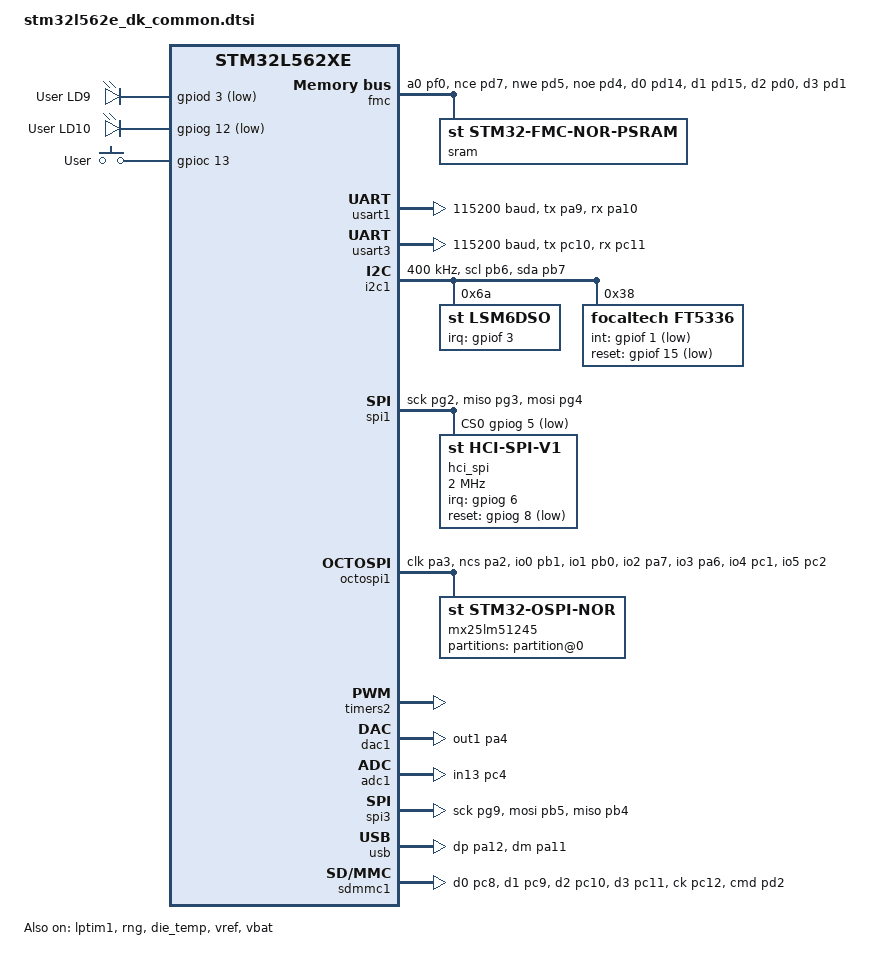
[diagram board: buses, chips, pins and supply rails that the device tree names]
/*
 * Copyright (c) 2020 Yestin Sun
 *
 * SPDX-License-Identifier: Apache-2.0
 */

#include <st/l5/stm32l562Xe.dtsi>
#include <st/l5/stm32l562qeixq-pinctrl.dtsi>
#include "arduino_r3_connector.dtsi"
#include <zephyr/dt-bindings/input/input-event-codes.h>
#include <zephyr/dt-bindings/memory-controller/stm32-fmc-nor-psram.h>
#include <zephyr/dt-bindings/mipi_dbi/mipi_dbi.h>

/ {
	leds {
		compatible = "gpio-leds";
		red_led_9: led_9 {
			gpios = <&gpiod 3 GPIO_ACTIVE_LOW>;
			label = "User LD9";
		};
		green_led_10: led_10 {
			gpios = <&gpiog 12 GPIO_ACTIVE_LOW>;
			label = "User LD10";
		};
	};

	gpio_keys {
		compatible = "gpio-keys";
		user_button: button {
			label = "User";
			gpios = <&gpioc 13 GPIO_ACTIVE_HIGH>;
			zephyr,code = <INPUT_KEY_0>;
		};
	};

	aliases {
		die-temp0 = &die_temp;
		volt-sensor0 = &vref;
		volt-sensor1 = &vbat;
	};

	chosen {
		zephyr,bt-hci = &hci_spi;
	};

	lvgl_pointer {
		compatible = "zephyr,lvgl-pointer-input";
		input = <&ft5336>;
		invert-y;
	};
};

&fmc {
	pinctrl-0 = <&fmc_a0_pf0 &fmc_nce_pd7 &fmc_nwe_pd5 &fmc_noe_pd4
		     &fmc_d0_pd14 &fmc_d1_pd15 &fmc_d2_pd0 &fmc_d3_pd1
		     &fmc_d4_pe7 &fmc_d5_pe8 &fmc_d6_pe9 &fmc_d7_pe10
		     &fmc_d8_pe11 &fmc_d9_pe12 &fmc_d10_pe13 &fmc_d11_pe14
		     &fmc_d12_pe15 &fmc_d13_pd8 &fmc_d14_pd9 &fmc_d15_pd10>;
	pinctrl-names = "default";
	status = "okay";

	sram {
		compatible = "st,stm32-fmc-nor-psram";

		#address-cells = <1>;
		#size-cells = <0>;

		bank@0 {
			reg = <0x0>;
			st,control = <STM32_FMC_DATA_ADDRESS_MUX_DISABLE
				STM32_FMC_MEMORY_TYPE_SRAM
				STM32_FMC_NORSRAM_MEM_BUS_WIDTH_16
				STM32_FMC_BURST_ACCESS_MODE_DISABLE
				STM32_FMC_WAIT_SIGNAL_POLARITY_LOW
				STM32_FMC_WAIT_TIMING_BEFORE_WS
				STM32_FMC_WRITE_OPERATION_ENABLE
				STM32_FMC_WAIT_SIGNAL_DISABLE
				STM32_FMC_EXTENDED_MODE_DISABLE
				STM32_FMC_ASYNCHRONOUS_WAIT_DISABLE
				STM32_FMC_WRITE_BURST_DISABLE
				STM32_FMC_CONTINUOUS_CLOCK_SYNC_ONLY
				STM32_FMC_WRITE_FIFO_DISABLE
				STM32_FMC_PAGE_SIZE_NONE>;
			st,timing = <1 1 32 0 2 2 STM32_FMC_ACCESS_MODE_A>;

			fmc-mipi-dbi {
				compatible = "st,stm32-fmc-mipi-dbi";
				reset-gpios = <&gpiof 14 GPIO_ACTIVE_LOW>;
				power-gpios = <&gpioh 0 GPIO_ACTIVE_LOW>;
				register-select-pin = <0>;
				#address-cells = <1>;
				#size-cells = <0>;
				st7789v: lcd-panel@0 {
					compatible = "sitronix,st7789v";
					reg = <0>;
					mipi-mode = "MIPI_DBI_MODE_8080_BUS_16_BIT";
					/* A write cycle should be 68ns */
					mipi-max-frequency = <14705882>;
					width = <240>;
					height = <240>;
					x-offset = <0>;
					y-offset = <0>;
					vcom = <0x1F>;
					gctrl = <0x35>;
					vdvs = <0x20>;
					mdac = <0x00>;
					gamma = <0x01>;
					colmod = <0x05>;
					lcm = <0x2c>;
					porch-param = [0c 0c 00 33 33];
					cmd2en-param = [5a 69 02 00];
					pwctrl1-param = [a4 a1];
					pvgam-param = [D0 08 11 08 0C 15 39 33 50 36 13 14 29 2D];
					nvgam-param = [D0 08 10 08 06 06 39 44 51 0B 16 14 2F 31];
					ram-param = [00 F0];
					rgb-param = [40 02 14];
				};
			};
		};
	};
};

&clk_hsi48 {
	status = "okay";
};

&clk_msi {
	status = "okay";
	msi-range = <6>;
	msi-pll-mode;
};

&clk_lse {
	status = "okay";
};

&pll {
	div-m = <1>;
	mul-n = <55>;
	div-p = <7>;
	div-q = <2>;
	div-r = <2>;
	clocks = <&clk_msi>;
	status = "okay";
};

&rcc {
	clocks = <&pll>;
	clock-frequency = <DT_FREQ_M(110)>;
	ahb-prescaler = <1>;
	apb1-prescaler = <1>;
	apb2-prescaler = <1>;
};

stm32_lp_tick_source: &lptim1 {
	clocks = <&rcc STM32_CLOCK_BUS_APB1 0x80000000>,
		 <&rcc STM32_SRC_LSE LPTIM1_SEL(3)>;
	status = "okay";
};

&usart1 {
	current-speed = <115200>;
	pinctrl-0 = <&usart1_tx_pa9 &usart1_rx_pa10>;
	pinctrl-names = "default";
	status = "okay";
};

&usart3 {
	pinctrl-0 = <&usart3_tx_pc10 &usart3_rx_pc11>;
	pinctrl-names = "default";
	current-speed = <115200>;
	status = "okay";
};

&i2c1 {
	pinctrl-0 = <&i2c1_scl_pb6 &i2c1_sda_pb7>;
	pinctrl-names = "default";
	status = "okay";
	clock-frequency = <I2C_BITRATE_FAST>;

	lsm6dso: lsm6dso@6a {
		compatible = "st,lsm6dso";
		reg = <0x6a>;
		irq-gpios = <&gpiof 3 GPIO_ACTIVE_HIGH>;
	};

	ft5336: ft5336@38 {
		compatible = "focaltech,ft5336";
		reg = <0x38>;
		int-gpios = <&gpiof 1 GPIO_ACTIVE_LOW>;
		reset-gpios = <&gpiof 15 GPIO_ACTIVE_LOW>;
	};
};

&rng {
	status = "okay";
};

&spi1 {
	pinctrl-0 = <&spi1_sck_pg2 &spi1_miso_pg3 &spi1_mosi_pg4>;
	pinctrl-names = "default";
	cs-gpios = <&gpiog 5 GPIO_ACTIVE_LOW>;
	status = "okay";

	hci_spi: spbtle-rf@0 {
		compatible = "st,hci-spi-v1";
		reg = <0>;
		irq-gpios = <&gpiog 6 (GPIO_ACTIVE_HIGH | GPIO_PULL_DOWN)>;
		reset-gpios = <&gpiog 8 GPIO_ACTIVE_LOW>;
		spi-max-frequency = <DT_FREQ_M(2)>;
		spi-hold-cs;
	};
};

&octospi1 {
	pinctrl-0 = <&octospi1_clk_pa3 &octospi1_ncs_pa2
		     &octospi1_io0_pb1 &octospi1_io1_pb0
		     &octospi1_io2_pa7 &octospi1_io3_pa6
		     &octospi1_io4_pc1 &octospi1_io5_pc2
		     &octospi1_io6_pc3 &octospi1_io7_pc0
		     &octospi1_dqs_pb2>;
	pinctrl-names = "default";

	status = "okay";

	mx25lm51245: ospi-nor-flash@90000000 {
		compatible = "st,stm32-ospi-nor";
		reg = <0x90000000 DT_SIZE_M(64)>; /* 512 Mbits */
		ospi-max-frequency = <DT_FREQ_M(50)>;
		spi-bus-width = <OSPI_OPI_MODE>;
		data-rate = <OSPI_DTR_TRANSFER>;
		four-byte-opcodes;
		status = "okay";
		sfdp-bfp = [
			53 46 44 50 06 01 02 ff
			00 06 01 10 30 00 00 ff
			c2 00 01 04 10 01 00 ff
			84 00 01 02 c0 00 00 ff
			00 00 00 00 00 00 00 00
			00 00 00 00 00 00 00 00
			e5 20 fb ff ff ff ff 1f
			44 eb 08 6b 08 3b 04 bb
			fe ff ff ff ff ff 00 ff
			ff ff 44 eb 0c 20 0f 52
			10 d8 00 ff d6 49 c5 00
			81 df 04 e3 44 03 67 38
			30 b0 30 b0 f7 bd d5 5c
			4a 9e 29 ff f0 50 f9 85
			00 00 00 00 00 00 00 00
			00 00 00 00 00 00 00 00
			00 00 00 00 00 00 00 00
			00 00 00 00 00 00 00 00
			00 00 00 00 00 00 00 00
			00 00 00 00 00 00 00 00
			00 00 00 00 00 00 00 00
			00 00 00 00 00 00 00 00
			00 00 00 00 00 00 00 00
			00 00 00 00 00 00 00 00
			7f ef ff ff 21 5c dc ff
		];

		partitions {
			compatible = "fixed-partitions";
			#address-cells = <1>;
			#size-cells = <1>;

			partition@0 {
				reg = <0x00000000 DT_SIZE_M(64)>;
			};
		};
	};
};

&timers2 {
	status = "okay";

	pwm2: pwm {
		status = "okay";
		pinctrl-0 = <&tim2_ch1_pa0>;
		pinctrl-names = "default";
	};
};

&dac1 {
	status = "okay";
	pinctrl-0 = <&dac1_out1_pa4>;
	pinctrl-names = "default";
};

&adc1 {
	pinctrl-0 = <&adc1_in13_pc4>;
	pinctrl-names = "default";
	st,adc-clock-source = "SYNC";
	st,adc-prescaler = <4>;
	status = "okay";
};

&die_temp {
	status = "okay";
};

&spi3 {
	pinctrl-0 = <&spi3_sck_pg9 &spi3_mosi_pb5 &spi3_miso_pb4>;
	pinctrl-names = "default";
	cs-gpios = <&gpioe 0 (GPIO_ACTIVE_LOW | GPIO_PULL_UP)>;
	status = "okay";
};

zephyr_udc0: &usb {
	pinctrl-0 = <&usb_dp_pa12 &usb_dm_pa11>;
	pinctrl-names = "default";
	status = "okay";
};

&sdmmc1 {
	status = "okay";

	pinctrl-0 = <&sdmmc1_d0_pc8
		     &sdmmc1_d1_pc9
		     &sdmmc1_d2_pc10
		     &sdmmc1_d3_pc11
		     &sdmmc1_ck_pc12
		     &sdmmc1_cmd_pd2>;

	pinctrl-names = "default";

	cd-gpios = <&gpiof 2 GPIO_ACTIVE_LOW>;
};

&vref {
	status = "okay";
};

&vbat {
	status = "okay";
};
